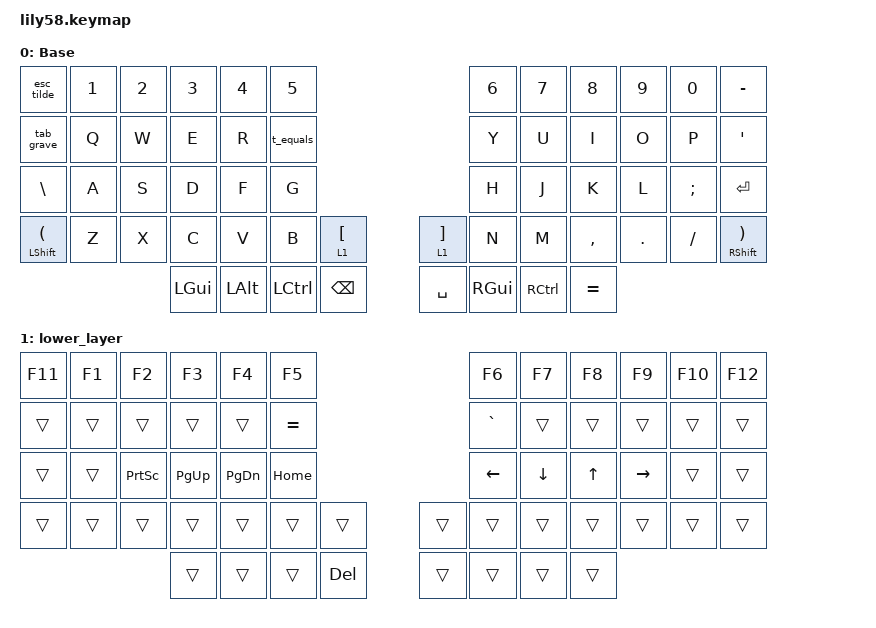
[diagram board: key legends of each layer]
/*
 * Copyright (c) 2020 The ZMK Contributors
 *
 * SPDX-License-Identifier: MIT
 */

#include <behaviors.dtsi>
#include <dt-bindings/zmk/keys.h>

/ {
    behaviors {
        tab_grave: tab_grave {
            compatible = "zmk,behavior-mod-morph";
            label = "TAB_GRAVE";
            bindings = <&kp TAB>, <&kp GRAVE>;

            #binding-cells = <0>;
            mods = <(MOD_RGUI)>;
        };

        esc_tilde: esc_tilde {
            compatible = "zmk,behavior-mod-morph";
            label = "ESC_TILDE";
            bindings = <&kp ESCAPE>, <&kp TILDE>;

            #binding-cells = <0>;
            mods = <(MOD_LSFT|MOD_RSFT)>;
        };

        t_equals: t_equals {
            compatible = "zmk,behavior-mod-morph";
            label = "T_EQUALS";
            bindings = <&kp T>, <&kp EQUAL>;

            #binding-cells = <0>;
            mods = <(MOD_RGUI)>;
        };
    };

    keymap {
        compatible = "zmk,keymap";

        default_layer {
            // ------------------------------------------------------------------------------------------------------------
            // |  ESC  |  1  |  2  |  3   |  4   |  5   |                   |  6   |  7    |  8    |  9   |   0   |   `   |
            // |  TAB  |  Q  |  W  |  E   |  R   |  T   |                   |  Y   |  U    |  I    |  O   |   P   |   -   |
            // |  CTRL |  A  |  S  |  D   |  F   |  G   |                   |  H   |  J    |  K    |  L   |   ;   |   '   |
            // | SHIFT |  Z  |  X  |  C   |  V   |  B   |   "["  |  |  "]"  |  N   |  M    |  ,    |  .   |   /   | SHIFT |
            //                     | ALT  | GUI  | LOWER|  SPACE |  | ENTER | RAISE| BSPC  | GUI   |

            display-name = "Base";
            bindings = <
&esc_tilde                       &kp N1  &kp N2  &kp N3    &kp N4    &kp N5                                                &kp N6         &kp N7             &kp N8     &kp N9   &kp N0    &kp MINUS
&tab_grave                       &kp Q   &kp W   &kp E     &kp R     &t_equals                                             &kp Y          &kp U              &kp I      &kp O    &kp P     &kp SINGLE_QUOTE
&kp BACKSLASH                    &kp A   &kp S   &kp D     &kp F     &kp G                                                 &kp H          &kp J              &kp K      &kp L    &kp SEMI  &kp ENTER
&mt LEFT_SHIFT LEFT_PARENTHESIS  &kp Z   &kp X   &kp C     &kp V     &kp B      &lt 1 LEFT_BRACKET    &lt 1 RIGHT_BRACKET  &kp N          &kp M              &kp COMMA  &kp DOT  &kp FSLH  &mt RIGHT_SHIFT RIGHT_PARENTHESIS
                                                 &kp LGUI  &kp LALT  &kp LCTRL  &kp BACKSPACE         &kp SPACE            &kp RIGHT_GUI  &kp RIGHT_CONTROL  &kp EQUAL
            >;
        };

        lower_layer {
            bindings = <
&kp F11  &kp F1  &kp F2           &kp F3       &kp F4         &kp F5                           &kp F6     &kp F7    &kp F8  &kp F9     &kp F10  &kp F12
&trans   &trans  &trans           &trans       &trans         &kp EQUAL                        &kp GRAVE  &trans    &trans  &trans     &trans   &trans
&trans   &trans  &kp PRINTSCREEN  &kp PAGE_UP  &kp PAGE_DOWN  &kp HOME                         &kp LEFT   &kp DOWN  &kp UP  &kp RIGHT  &trans   &trans
&trans   &trans  &trans           &trans       &trans         &trans     &trans        &trans  &trans     &trans    &trans  &trans     &trans   &trans
                                  &trans       &trans         &trans     &kp DELETE    &trans  &trans     &trans    &trans
            >;
        };
    };
};
